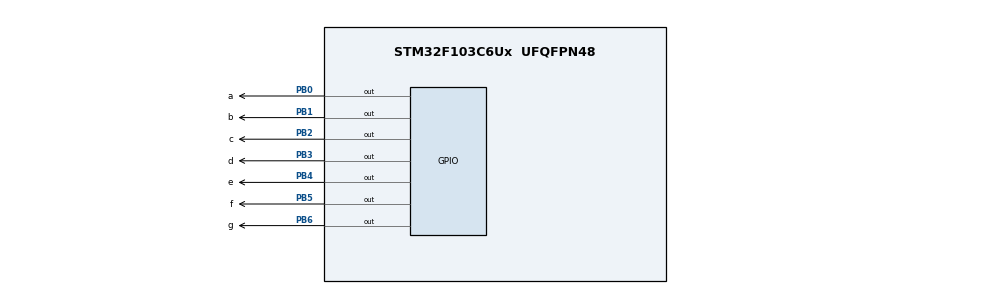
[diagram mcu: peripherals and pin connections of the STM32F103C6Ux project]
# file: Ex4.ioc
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Mcu.Family=STM32F1
Mcu.Name=STM32F103C6Ux
Mcu.Package=UFQFPN48
NVIC.PriorityGroup=NVIC_PRIORITYGROUP_4
PB0.GPIO_Label=a
PB0.Signal=GPIO_Output
PB1.GPIO_Label=b
PB1.Signal=GPIO_Output
PB2.GPIO_Label=c
PB2.Signal=GPIO_Output
PB3.GPIO_Label=d
PB3.Signal=GPIO_Output
PB4.GPIO_Label=e
PB4.Signal=GPIO_Output
PB5.GPIO_Label=f
PB5.Signal=GPIO_Output
PB6.GPIO_Label=g
PB6.Signal=GPIO_Output
ProjectManager.HeapSize=0x200
ProjectManager.StackSize=0x400
ProjectManager.TargetToolchain=STM32CubeIDE
RCC.APB1Freq_Value=8000000
RCC.APB2Freq_Value=8000000
VP_SYS_VS_ND.Mode=No_Debug
board=custom

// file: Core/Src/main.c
/* USER CODE BEGIN Header */
/**
  ******************************************************************************
  * @file           : main.c
  * @brief          : Main program body
  ******************************************************************************
  * @attention
  *
  * <h2><center>&copy; Copyright (c) 2026 STMicroelectronics.
  * All rights reserved.</center></h2>
  *
  * This software component is licensed by ST under BSD 3-Clause license,
  * the "License"; You may not use this file except in compliance with the
  * License. You may obtain a copy of the License at:
  *                        opensource.org/licenses/BSD-3-Clause
  *
  ******************************************************************************
  */
/* USER CODE END Header */
#include "main.h"

void SystemClock_Config(void);
static void MX_GPIO_Init(void);

int main(void)
{

  /* MCU Configuration--------------------------------------------------------*/

  /* Reset of all peripherals, Initializes the Flash interface and the Systick. */
  HAL_Init();

  /* Configure the system clock */
  SystemClock_Config();

  /* Initialize all configured peripherals */
  MX_GPIO_Init();

  /* Infinite loop */
  /* USER CODE BEGIN WHILE */
  void display7SEG(int num) {
	  //array
      uint8_t seg7[10][7] = {
        // a  b  c  d  e  f  g
          {0, 0, 0, 0, 0, 0, 1}, // 0
          {1, 0, 0, 1, 1, 1, 1}, // 1
          {0, 0, 1, 0, 0, 1, 0}, // 2
          {0, 0, 0, 0, 1, 1, 0}, // 3
          {1, 0, 0, 1, 1, 0, 0}, // 4
          {0, 1, 0, 0, 1, 0, 0}, // 5
          {0, 1, 0, 0, 0, 0, 0}, // 6
          {0, 0, 0, 1, 1, 1, 1}, // 7
          {0, 0, 0, 0, 0, 0, 0}, // 8
          {0, 0, 0, 0, 1, 0, 0}  // 9
      };

      HAL_GPIO_WritePin(GPIOB, GPIO_PIN_0, seg7[num][0]); // a
      HAL_GPIO_WritePin(GPIOB, GPIO_PIN_1, seg7[num][1]); // b
      HAL_GPIO_WritePin(GPIOB, GPIO_PIN_2, seg7[num][2]); // c
      HAL_GPIO_WritePin(GPIOB, GPIO_PIN_3, seg7[num][3]); // d
      HAL_GPIO_WritePin(GPIOB, GPIO_PIN_4, seg7[num][4]); // e
      HAL_GPIO_WritePin(GPIOB, GPIO_PIN_5, seg7[num][5]); // f
      HAL_GPIO_WritePin(GPIOB, GPIO_PIN_6, seg7[num][6]); // g
  }
  int counter = 0;
  while (1)
  {
    /* USER CODE END WHILE */
	  if( counter >= 10) counter = 0;
	  	 display7SEG ( counter ++) ;
	  	 HAL_Delay (1000) ;
  }
}

void SystemClock_Config(void)
{
  RCC_OscInitTypeDef RCC_OscInitStruct = {0};
  RCC_ClkInitTypeDef RCC_ClkInitStruct = {0};

  /** Initializes the RCC Oscillators according to the specified parameters
  * in the RCC_OscInitTypeDef structure.
  */
  RCC_OscInitStruct.OscillatorType = RCC_OSCILLATORTYPE_HSI;
  RCC_OscInitStruct.HSIState = RCC_HSI_ON;
  RCC_OscInitStruct.HSICalibrationValue = RCC_HSICALIBRATION_DEFAULT;
  RCC_OscInitStruct.PLL.PLLState = RCC_PLL_NONE;
  if (HAL_RCC_OscConfig(&RCC_OscInitStruct) != HAL_OK)
  {
    Error_Handler();
  }
  /** Initializes the CPU, AHB and APB buses clocks
  */
  RCC_ClkInitStruct.ClockType = RCC_CLOCKTYPE_HCLK|RCC_CLOCKTYPE_SYSCLK
                              |RCC_CLOCKTYPE_PCLK1|RCC_CLOCKTYPE_PCLK2;
  RCC_ClkInitStruct.SYSCLKSource = RCC_SYSCLKSOURCE_HSI;
  RCC_ClkInitStruct.AHBCLKDivider = RCC_SYSCLK_DIV1;
  RCC_ClkInitStruct.APB1CLKDivider = RCC_HCLK_DIV1;
  RCC_ClkInitStruct.APB2CLKDivider = RCC_HCLK_DIV1;

  if (HAL_RCC_ClockConfig(&RCC_ClkInitStruct, FLASH_LATENCY_0) != HAL_OK)
  {
    Error_Handler();
  }
}

static void MX_GPIO_Init(void)
{
  GPIO_InitTypeDef GPIO_InitStruct = {0};

  /* GPIO Ports Clock Enable */
  __HAL_RCC_GPIOB_CLK_ENABLE();

  /*Configure GPIO pin Output Level */
  HAL_GPIO_WritePin(GPIOB, a_Pin|b_Pin|c_Pin|d_Pin
                          |e_Pin|f_Pin|g_Pin, GPIO_PIN_RESET);

  /*Configure GPIO pins : a_Pin b_Pin c_Pin d_Pin
                           e_Pin f_Pin g_Pin */
  GPIO_InitStruct.Pin = a_Pin|b_Pin|c_Pin|d_Pin
                          |e_Pin|f_Pin|g_Pin;
  GPIO_InitStruct.Mode = GPIO_MODE_OUTPUT_PP;
  GPIO_InitStruct.Pull = GPIO_NOPULL;
  GPIO_InitStruct.Speed = GPIO_SPEED_FREQ_LOW;
  HAL_GPIO_Init(GPIOB, &GPIO_InitStruct);

}

void Error_Handler(void)
{
  __disable_irq();
  while (1)
  {
  }
}

/************************ (C) COPYRIGHT STMicroelectronics *****END OF FILE****/
